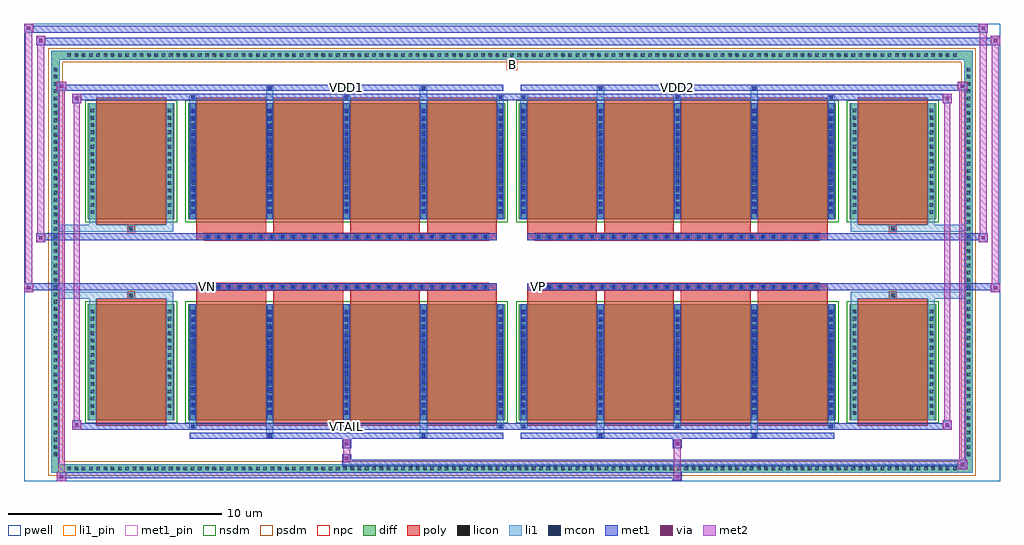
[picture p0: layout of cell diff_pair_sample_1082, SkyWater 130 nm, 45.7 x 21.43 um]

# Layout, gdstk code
import gdstk
lib = gdstk.Library(unit=1e-6, precision=5e-09)
def R(c, l, rs):  # rectangles x0, y0, x1, y1
    for r in rs: c.add(gdstk.rectangle(r[:2], r[2:], *l))
def A(c, l, x, y, w, h, nx, ny, dx, dy):  # array of equal rectangles
    R(c, l, [(x+i*dx, y+j*dy, x+i*dx+w, y+j*dy+h) for i in range(nx) for j in range(ny)])
def P(c, l, *ps):  # polygons
    for p in ps: c.add(gdstk.Polygon(p, *l))
pwell = (64, 44)
diff = (65, 20)
poly = (66, 20)
licon = (66, 44)
li1_pin = (67, 16)
li1 = (67, 20)
mcon = (67, 44)
met1_pin = (68, 16)
met1 = (68, 20)
via = (68, 44)
met2 = (69, 20)
nsdm = (93, 44)
psdm = (94, 20)
npc = (95, 20)

diff_pair_sample_1082 = lib.new_cell('diff_pair_sample_1082')
R(diff_pair_sample_1082, pwell, [(-22.85,-10.28,22.85,11.15), (-20.17,-8.47,-0.01,-0.805), (0.01,-8.47,20.17,-0.805), (-20.17,0.805,-0.01,8.47), (0.01,0.805,20.17,8.47)])
A(diff_pair_sample_1082, diff, -20.945, -9.88, 0.41, 0.41, 123, 2, 0.34, 19.35)
A(diff_pair_sample_1082, diff, -21.58, -9.215, 0.41, 0.41, 1, 54, 0, 0.34)
A(diff_pair_sample_1082, diff, 21.17, -9.215, 0.41, 0.41, 1, 54, 0, 0.34)
R(diff_pair_sample_1082, diff, [(-20.945,-9.88,20.945,-9.47), (-21.58,-9.215,-21.17,9.215), (21.17,-9.215,21.58,9.215), (-19.86,-7.425,-15.81,-1.985), (-15.17,-7.425,-0.32,-1.985), (0.32,-7.425,15.17,-1.985), (15.81,-7.425,19.86,-1.985), (-19.86,1.985,-15.81,7.425), (-15.17,1.985,-0.32,7.425), (0.32,1.985,15.17,7.425), (15.81,1.985,19.86,7.425), (-20.945,9.47,20.945,9.88)])
P(diff_pair_sample_1082, diff, [(21.58,9.88),(-21.58,9.88),(-21.58,-9.47),(-21.17,-9.47),(-21.17,9.47),(21.17,9.47),(21.17,-9.47),(-21.17,-9.47),(-21.58,-9.47),(-21.58,-9.88),(21.58,-9.88)])
A(diff_pair_sample_1082, poly, -14.78, -7.675, 3.27, 5.94, 4, 2, 3.6, 9.41)
A(diff_pair_sample_1082, poly, 0.71, -7.675, 3.27, 5.94, 4, 2, 3.6, 9.41)
A(diff_pair_sample_1082, poly, -14.78, -1.735, 3.27, 0.4, 4, 2, 3.6, 3.07)
A(diff_pair_sample_1082, poly, 0.71, -1.735, 3.27, 0.4, 4, 2, 3.6, 3.07)
A(diff_pair_sample_1082, poly, -14.41, -1.335, 0.33, 0.33, 27, 2, 0.5, 2.34)
A(diff_pair_sample_1082, poly, 1.08, -1.335, 0.33, 0.33, 27, 2, 0.5, 2.34)
R(diff_pair_sample_1082, poly, [(-19.47,-7.675,-16.2,-1.735), (16.2,-7.675,19.47,-1.735), (-18,-1.735,-17.67,-1.405), (-18,-1.735,-17.67,-1.405), (17.67,-1.735,18,-1.405), (17.67,-1.735,18,-1.405), (-14.78,-1.335,-0.71,-1.005), (0.71,-1.335,14.78,-1.005), (-14.78,1.005,-0.71,1.335), (0.71,1.005,14.78,1.335), (-18,1.405,-17.67,1.735), (-18,1.405,-17.67,1.735), (17.67,1.405,18,1.735), (17.67,1.405,18,1.735), (-19.47,1.735,-16.2,7.675), (16.2,1.735,19.47,7.675)])
A(diff_pair_sample_1082, licon, -20.825, -9.76, 0.17, 0.17, 123, 2, 0.34, 19.35)
A(diff_pair_sample_1082, licon, -21.46, -9.095, 0.17, 0.17, 1, 54, 0, 0.34)
A(diff_pair_sample_1082, licon, 21.29, -9.095, 0.17, 0.17, 1, 54, 0, 0.34)
A(diff_pair_sample_1082, licon, -19.72, -7.17, 0.17, 0.17, 1, 15, 0, 0.34)
A(diff_pair_sample_1082, licon, -16.12, -7.17, 0.17, 0.17, 1, 15, 0, 0.34)
A(diff_pair_sample_1082, licon, -15.03, -7.17, 0.17, 0.17, 5, 15, 3.6, 0.34)
A(diff_pair_sample_1082, licon, 0.46, -7.17, 0.17, 0.17, 5, 15, 3.6, 0.34)
A(diff_pair_sample_1082, licon, 15.95, -7.17, 0.17, 0.17, 1, 15, 0, 0.34)
A(diff_pair_sample_1082, licon, 19.55, -7.17, 0.17, 0.17, 1, 15, 0, 0.34)
A(diff_pair_sample_1082, licon, -14.33, -1.255, 0.17, 0.17, 27, 2, 0.5, 2.34)
A(diff_pair_sample_1082, licon, 1.16, -1.255, 0.17, 0.17, 27, 2, 0.5, 2.34)
A(diff_pair_sample_1082, licon, -19.72, 2.24, 0.17, 0.17, 1, 15, 0, 0.34)
A(diff_pair_sample_1082, licon, -16.12, 2.24, 0.17, 0.17, 1, 15, 0, 0.34)
A(diff_pair_sample_1082, licon, -15.03, 2.24, 0.17, 0.17, 5, 15, 3.6, 0.34)
A(diff_pair_sample_1082, licon, 0.46, 2.24, 0.17, 0.17, 5, 15, 3.6, 0.34)
A(diff_pair_sample_1082, licon, 15.95, 2.24, 0.17, 0.17, 1, 15, 0, 0.34)
A(diff_pair_sample_1082, licon, 19.55, 2.24, 0.17, 0.17, 1, 15, 0, 0.34)
R(diff_pair_sample_1082, licon, [(-17.92,-1.655,-17.75,-1.485), (17.75,-1.655,17.92,-1.485), (-17.92,1.485,-17.75,1.655), (17.75,1.485,17.92,1.655)])
R(diff_pair_sample_1082, li1_pin, [(-0.25,8.97,0.25,9.47)])
A(diff_pair_sample_1082, li1, -20.905, -9.84, 0.33, 0.33, 123, 2, 0.34, 19.35)
A(diff_pair_sample_1082, li1, -21.54, -9.175, 0.33, 0.33, 1, 54, 0, 0.34)
A(diff_pair_sample_1082, li1, 21.21, -9.175, 0.33, 0.33, 1, 54, 0, 0.34)
A(diff_pair_sample_1082, li1, -15.11, -7.8, 0.33, 0.375, 3, 2, 7.2, 15.225)
A(diff_pair_sample_1082, li1, -15.03, -7.8, 0.17, 0.17, 3, 2, 7.2, 15.43)
A(diff_pair_sample_1082, li1, 0.38, -7.8, 0.33, 0.375, 3, 2, 7.2, 15.225)
A(diff_pair_sample_1082, li1, 0.46, -7.8, 0.17, 0.17, 3, 2, 7.2, 15.43)
A(diff_pair_sample_1082, li1, -15.11, -7.425, 0.33, 5.44, 5, 2, 3.6, 9.41)
A(diff_pair_sample_1082, li1, 0.38, -7.425, 0.33, 5.44, 5, 2, 3.6, 9.41)
A(diff_pair_sample_1082, li1, -19.8, -7.25, 0.33, 0.33, 1, 15, 0, 0.34)
A(diff_pair_sample_1082, li1, -16.2, -7.25, 0.33, 0.33, 1, 15, 0, 0.34)
A(diff_pair_sample_1082, li1, -15.11, -7.25, 0.33, 0.33, 5, 15, 3.6, 0.34)
A(diff_pair_sample_1082, li1, 0.38, -7.25, 0.33, 0.33, 5, 15, 3.6, 0.34)
A(diff_pair_sample_1082, li1, 15.87, -7.25, 0.33, 0.33, 1, 15, 0, 0.34)
A(diff_pair_sample_1082, li1, 19.47, -7.25, 0.33, 0.33, 1, 15, 0, 0.34)
A(diff_pair_sample_1082, li1, -15.03, -7.13, 0.17, 0.17, 5, 14, 3.6, 0.36)
A(diff_pair_sample_1082, li1, -15.03, -7.13, 0.17, 4.85, 5, 2, 3.6, 9.41)
A(diff_pair_sample_1082, li1, 0.46, -7.13, 0.17, 0.17, 5, 14, 3.6, 0.36)
A(diff_pair_sample_1082, li1, 0.46, -7.13, 0.17, 4.85, 5, 2, 3.6, 9.41)
A(diff_pair_sample_1082, li1, -14.41, -1.335, 0.33, 0.33, 27, 2, 0.5, 2.34)
A(diff_pair_sample_1082, li1, 1.08, -1.335, 0.33, 0.33, 27, 2, 0.5, 2.34)
A(diff_pair_sample_1082, li1, -19.8, 2.16, 0.33, 0.33, 1, 15, 0, 0.34)
A(diff_pair_sample_1082, li1, -16.2, 2.16, 0.33, 0.33, 1, 15, 0, 0.34)
A(diff_pair_sample_1082, li1, -15.11, 2.16, 0.33, 0.33, 5, 15, 3.6, 0.34)
A(diff_pair_sample_1082, li1, 0.38, 2.16, 0.33, 0.33, 5, 15, 3.6, 0.34)
A(diff_pair_sample_1082, li1, 15.87, 2.16, 0.33, 0.33, 1, 15, 0, 0.34)
A(diff_pair_sample_1082, li1, 19.47, 2.16, 0.33, 0.33, 1, 15, 0, 0.34)
A(diff_pair_sample_1082, li1, -15.03, 2.28, 0.17, 0.17, 5, 14, 3.6, 0.36)
A(diff_pair_sample_1082, li1, 0.46, 2.28, 0.17, 0.17, 5, 14, 3.6, 0.36)
R(diff_pair_sample_1082, li1, [(-21.58,-9.88,-21.17,-9.47), (-21.58,-9.88,-21.17,-9.47), (-21.17,-9.88,21.17,-9.47), (21.17,-9.88,21.58,-9.47), (21.17,-9.88,21.58,-9.47), (-21.58,-9.47,-21.17,9.47), (21.17,-9.47,21.58,9.47), (-11.51,-8.23,-11.18,-7.425), (-11.43,-8.23,-11.26,-8.06), (-4.31,-8.23,-3.98,-7.425), (-4.23,-8.23,-4.06,-8.06), (3.98,-8.23,4.31,-7.425), (4.06,-8.23,4.23,-8.06), (11.18,-8.23,11.51,-7.425), (11.26,-8.23,11.43,-8.06), (-19.8,-7.425,-19.47,-1.985), (-16.2,-7.425,-15.87,-1.985), (15.87,-7.425,16.2,-1.985), (19.47,-7.425,19.8,-1.985), (-19.8,-1.985,-19.47,-1.405), (-16.2,-1.985,-15.87,-1.405), (15.87,-1.985,16.2,-1.405), (19.47,-1.985,19.8,-1.405), (-21.58,-1.735,-18,-1.405), (-19.8,-1.735,-18,-1.405), (-18,-1.735,-17.67,-1.405), (-17.67,-1.735,-15.87,-1.405), (15.87,-1.735,17.67,-1.405), (17.67,-1.735,18,-1.405), (17.67,-1.735,21.58,-1.405), (18,-1.735,19.8,-1.405), (-21.58,1.405,-18,1.735), (-19.8,1.405,-18,1.735), (-19.8,1.405,-19.47,1.985), (-18,1.405,-17.67,1.735), (-17.67,1.405,-15.87,1.735), (-16.2,1.405,-15.87,1.985), (15.87,1.405,17.67,1.735), (15.87,1.405,16.2,1.985), (17.67,1.405,18,1.735), (17.67,1.405,21.58,1.735), (18,1.405,19.8,1.735), (19.47,1.405,19.8,1.985), (-19.8,1.985,-19.47,7.425), (-16.2,1.985,-15.87,7.425), (15.87,1.985,16.2,7.425), (19.47,1.985,19.8,7.425), (-11.51,7.425,-11.18,8.23), (-4.31,7.425,-3.98,8.23), (3.98,7.425,4.31,8.23), (11.18,7.425,11.51,8.23), (-11.43,8.06,-11.26,8.23), (-4.23,8.06,-4.06,8.23), (4.06,8.06,4.23,8.23), (11.26,8.06,11.43,8.23), (-21.58,9.47,-21.17,9.88), (-21.58,9.47,-21.17,9.88), (-21.17,9.47,21.17,9.88), (21.17,9.47,21.58,9.88), (21.17,9.47,21.58,9.88)])
A(diff_pair_sample_1082, mcon, -15.03, -7.8, 0.17, 0.17, 3, 2, 7.2, 15.43)
A(diff_pair_sample_1082, mcon, 0.46, -7.8, 0.17, 0.17, 3, 2, 7.2, 15.43)
A(diff_pair_sample_1082, mcon, -15.03, -7.13, 0.17, 0.17, 5, 14, 3.6, 0.36)
A(diff_pair_sample_1082, mcon, 0.46, -7.13, 0.17, 0.17, 5, 14, 3.6, 0.36)
A(diff_pair_sample_1082, mcon, -14.33, -1.255, 0.17, 0.17, 27, 2, 0.5, 2.34)
A(diff_pair_sample_1082, mcon, 1.16, -1.255, 0.17, 0.17, 27, 2, 0.5, 2.34)
A(diff_pair_sample_1082, mcon, -15.03, 2.28, 0.17, 0.17, 5, 14, 3.6, 0.36)
A(diff_pair_sample_1082, mcon, 0.46, 2.28, 0.17, 0.17, 5, 14, 3.6, 0.36)
R(diff_pair_sample_1082, mcon, [(-11.43,-8.23,-11.26,-8.06), (-4.23,-8.23,-4.06,-8.06), (4.06,-8.23,4.23,-8.06), (11.26,-8.23,11.43,-8.06), (-11.43,8.06,-11.26,8.23), (-4.23,8.06,-4.06,8.23), (4.06,8.06,4.23,8.23), (11.26,8.06,11.43,8.23)])
R(diff_pair_sample_1082, met1_pin, [(-7.88,-7.84,-7.61,-7.57), (-14.38,-1.295,-14.11,-1.025), (1.11,-1.295,1.38,-1.025), (-7.88,8.02,-7.61,8.29), (7.61,8.02,7.88,8.29)])
A(diff_pair_sample_1082, met1, -15.09, -7.86, 0.29, 0.29, 3, 2, 7.2, 15.43)
A(diff_pair_sample_1082, met1, 0.4, -7.86, 0.29, 0.29, 3, 2, 7.2, 15.43)
A(diff_pair_sample_1082, met1, -15.09, -7.425, 0.29, 5.44, 5, 2, 3.6, 9.41)
A(diff_pair_sample_1082, met1, 0.4, -7.425, 0.29, 5.44, 5, 2, 3.6, 9.41)
A(diff_pair_sample_1082, met1, -15.09, -7.19, 0.29, 0.29, 5, 14, 3.6, 0.36)
A(diff_pair_sample_1082, met1, 0.4, -7.19, 0.29, 0.29, 5, 14, 3.6, 0.36)
A(diff_pair_sample_1082, met1, -14.39, -1.315, 0.29, 0.29, 27, 2, 0.5, 2.34)
A(diff_pair_sample_1082, met1, 1.1, -1.315, 0.29, 0.29, 27, 2, 0.5, 2.34)
A(diff_pair_sample_1082, met1, -15.09, 2.22, 0.29, 0.29, 5, 14, 3.6, 0.36)
A(diff_pair_sample_1082, met1, 0.4, 2.22, 0.29, 0.29, 5, 14, 3.6, 0.36)
R(diff_pair_sample_1082, met1, [(-21.31,-10.28,-20.88,-9.85), (7.53,-10.28,7.96,-9.85), (-21.31,-10.14,7.96,-9.85), (20.88,-9.71,21.31,-9.28), (-7.96,-9.57,21.31,-9.28), (-7.96,-9.43,-7.53,-9), (-7.96,-8.72,-7.53,-8.29), (7.53,-8.72,7.96,-8.29), (-15.09,-8.29,-0.4,-8), (-11.49,-8.29,-11.2,-8), (-4.29,-8.29,-4,-8), (0.4,-8.29,15.09,-8), (4,-8.29,4.29,-8), (11.2,-8.29,11.49,-8), (-20.6,-7.86,-20.17,-7.43), (-20.6,-7.86,-15.09,-7.57), (-15.09,-7.86,-0.4,-7.57), (-0.4,-7.86,0.4,-7.57), (0.4,-7.86,15.09,-7.57), (15.09,-7.86,20.6,-7.57), (20.17,-7.86,20.6,-7.43), (-22.85,-1.435,-22.42,-1.005), (22.42,-1.435,22.85,-1.005), (-22.85,-1.335,-0.71,-1.005), (-14.78,-1.335,-0.71,-1.005), (0.71,-1.335,14.78,-1.005), (0.71,-1.335,22.85,-1.005), (-22.28,0.905,-21.85,1.335), (21.85,0.905,22.28,1.335), (-22.28,1.005,-14.78,1.335), (-14.78,1.005,-0.71,1.335), (0.71,1.005,14.78,1.335), (14.78,1.005,22.28,1.335), (-20.6,7.43,-20.17,7.86), (20.17,7.43,20.6,7.86), (-20.6,7.57,-15.09,7.86), (-15.09,7.57,-0.4,7.86), (-0.4,7.57,0.4,7.86), (0.4,7.57,15.09,7.86), (15.09,7.57,20.6,7.86), (-21.31,8,-20.88,8.43), (-21.31,8,-15.09,8.29), (-15.09,8,-0.4,8.29), (-11.49,8,-11.2,8.29), (-4.29,8,-4,8.29), (0.4,8,15.09,8.29), (4,8,4.29,8.29), (11.2,8,11.49,8.29), (15.09,8,21.31,8.29), (20.88,8,21.31,8.43), (-22.28,10.15,-21.85,10.58), (-22.28,10.15,-20.17,10.48), (-20.17,10.15,20.17,10.48), (20.17,10.15,22.85,10.48), (22.42,10.15,22.85,10.58), (-22.85,10.72,-22.42,11.15), (-22.85,10.72,-20.17,11.05), (-20.17,10.72,20.17,11.05), (20.17,10.72,22.28,11.05), (21.85,10.72,22.28,11.15)])
R(diff_pair_sample_1082, via, [(-21.17,-10.14,-21.02,-9.99), (7.67,-10.14,7.82,-9.99), (21.02,-9.57,21.17,-9.42), (-7.82,-9.29,-7.67,-9.14), (-7.82,-8.58,-7.67,-8.43), (7.67,-8.58,7.82,-8.43), (-20.46,-7.72,-20.31,-7.57), (20.31,-7.72,20.46,-7.57), (-22.71,-1.295,-22.56,-1.145), (22.56,-1.295,22.71,-1.145), (-22.14,1.045,-21.99,1.195), (21.99,1.045,22.14,1.195), (-20.46,7.57,-20.31,7.72), (20.31,7.57,20.46,7.72), (-21.17,8.14,-21.02,8.29), (21.02,8.14,21.17,8.29), (-22.14,10.29,-21.99,10.44), (22.56,10.29,22.71,10.44), (-22.71,10.86,-22.56,11.01), (21.99,10.86,22.14,11.01)])
R(diff_pair_sample_1082, met2, [(-21.31,-10.28,-20.88,-9.85), (-21.24,-10.28,-20.95,8.43), (-20.95,-10.28,-20.88,-9.85), (-21.26,-10.23,-20.93,-9.9), (7.58,-10.23,7.91,-9.9), (7.58,-9.9,7.91,-8.67), (20.88,-9.71,21.31,-9.28), (20.95,-9.71,21.24,8.43), (21.24,-9.71,21.31,-9.28), (20.93,-9.66,21.26,-9.33), (-7.91,-9.38,-7.58,-9.05), (-7.91,-9.05,-7.58,-8.67), (-7.91,-8.67,-7.58,-8.34), (7.58,-8.67,7.91,-8.34), (-20.6,-7.86,-20.17,-7.43), (-20.53,-7.86,-20.24,7.86), (-20.24,-7.86,-20.17,-7.43), (20.17,-7.86,20.6,-7.43), (20.24,-7.86,20.53,7.86), (20.53,-7.86,20.6,-7.43), (-20.55,-7.81,-20.22,-7.48), (20.22,-7.81,20.55,-7.48), (-22.85,-1.435,-22.42,-1.005), (-22.8,-1.435,-22.47,11.15), (-22.47,-1.435,-22.42,-1.005), (22.42,-1.435,22.85,-1.005), (22.47,-1.435,22.8,10.58), (22.8,-1.435,22.85,-1.005), (-22.8,-1.385,-22.47,-1.055), (22.47,-1.385,22.8,-1.055), (-22.28,0.905,-21.85,1.335), (-22.23,0.905,-21.9,10.58), (-21.9,0.905,-21.85,1.335), (21.85,0.905,22.28,1.335), (21.9,0.905,22.23,11.15), (22.23,0.905,22.28,1.335), (-22.23,0.955,-21.9,1.285), (21.9,0.955,22.23,1.285), (-20.6,7.43,-20.17,7.86), (-20.24,7.43,-20.17,7.86), (20.17,7.43,20.6,7.86), (20.53,7.43,20.6,7.86), (-20.55,7.48,-20.22,7.81), (20.22,7.48,20.55,7.81), (-21.31,8,-20.88,8.43), (-20.95,8,-20.88,8.43), (20.88,8,21.31,8.43), (21.24,8,21.31,8.43), (-21.26,8.05,-20.93,8.38), (20.93,8.05,21.26,8.38), (-22.28,10.15,-21.85,10.58), (-21.9,10.15,-21.85,10.58), (22.42,10.15,22.85,10.58), (22.8,10.15,22.85,10.58), (-22.23,10.2,-21.9,10.53), (22.47,10.2,22.8,10.53), (-22.85,10.72,-22.42,11.15), (-22.47,10.72,-22.42,11.15), (21.85,10.72,22.28,11.15), (22.23,10.72,22.28,11.15), (-22.8,10.77,-22.47,11.1), (21.9,10.77,22.23,11.1)])
R(diff_pair_sample_1082, nsdm, [(-19.99,-7.555,-15.68,-1.855), (-15.3,-7.555,-0.19,-1.855), (0.19,-7.555,15.3,-1.855), (15.68,-7.555,19.99,-1.855), (-19.99,1.855,-15.68,7.555), (-15.3,1.855,-0.19,7.555), (0.19,1.855,15.3,7.555), (15.68,1.855,19.99,7.555)])
P(diff_pair_sample_1082, psdm, [(21.71,10.01),(-21.71,10.01),(-21.71,-9.34),(-21.04,-9.34),(-21.04,9.34),(21.04,9.34),(21.04,-9.34),(-21.04,-9.34),(-21.71,-9.34),(-21.71,-10.01),(21.71,-10.01)])
A(diff_pair_sample_1082, npc, -14.43, -1.355, 0.37, 0.37, 27, 2, 0.5, 2.34)
A(diff_pair_sample_1082, npc, 1.06, -1.355, 0.37, 0.37, 27, 2, 0.5, 2.34)
R(diff_pair_sample_1082, npc, [(-18.02,-1.755,-17.65,-1.385), (17.65,-1.755,18.02,-1.385), (-14.43,-1.355,-13.56,-0.985), (-14.43,-1.355,-13.56,-0.985), (-13.93,-1.355,-13.06,-0.985), (-13.93,-1.355,-13.06,-0.985), (-13.43,-1.355,-12.56,-0.985), (-13.43,-1.355,-12.56,-0.985), (-12.93,-1.355,-12.06,-0.985), (-12.93,-1.355,-12.06,-0.985), (-12.43,-1.355,-11.56,-0.985), (-12.43,-1.355,-11.56,-0.985), (-11.93,-1.355,-11.06,-0.985), (-11.93,-1.355,-11.06,-0.985), (-11.43,-1.355,-10.56,-0.985), (-11.43,-1.355,-10.56,-0.985), (-10.93,-1.355,-10.06,-0.985), (-10.93,-1.355,-10.06,-0.985), (-10.43,-1.355,-9.56,-0.985), (-10.43,-1.355,-9.56,-0.985), (-9.93,-1.355,-9.06,-0.985), (-9.93,-1.355,-9.06,-0.985), (-9.43,-1.355,-8.56,-0.985), (-9.43,-1.355,-8.56,-0.985), (-8.93,-1.355,-8.06,-0.985), (-8.93,-1.355,-8.06,-0.985), (-8.43,-1.355,-7.56,-0.985), (-8.43,-1.355,-7.56,-0.985), (-7.93,-1.355,-7.06,-0.985), (-7.93,-1.355,-7.06,-0.985), (-7.43,-1.355,-6.56,-0.985), (-7.43,-1.355,-6.56,-0.985), (-6.93,-1.355,-6.06,-0.985), (-6.93,-1.355,-6.06,-0.985), (-6.43,-1.355,-5.56,-0.985), (-6.43,-1.355,-5.56,-0.985), (-5.93,-1.355,-5.06,-0.985), (-5.93,-1.355,-5.06,-0.985), (-5.43,-1.355,-4.56,-0.985), (-5.43,-1.355,-4.56,-0.985), (-4.93,-1.355,-4.06,-0.985), (-4.93,-1.355,-4.06,-0.985), (-4.43,-1.355,-3.56,-0.985), (-4.43,-1.355,-3.56,-0.985), (-3.93,-1.355,-3.06,-0.985), (-3.93,-1.355,-3.06,-0.985), (-3.43,-1.355,-2.56,-0.985), (-3.43,-1.355,-2.56,-0.985), (-2.93,-1.355,-2.06,-0.985), (-2.93,-1.355,-2.06,-0.985), (-2.43,-1.355,-1.56,-0.985), (-2.43,-1.355,-1.56,-0.985), (-1.93,-1.355,-1.06,-0.985), (-1.93,-1.355,-1.06,-0.985), (1.06,-1.355,1.93,-0.985), (1.06,-1.355,1.93,-0.985), (1.56,-1.355,2.43,-0.985), (1.56,-1.355,2.43,-0.985), (2.06,-1.355,2.93,-0.985), (2.06,-1.355,2.93,-0.985), (2.56,-1.355,3.43,-0.985), (2.56,-1.355,3.43,-0.985), (3.06,-1.355,3.93,-0.985), (3.06,-1.355,3.93,-0.985), (3.56,-1.355,4.43,-0.985), (3.56,-1.355,4.43,-0.985), (4.06,-1.355,4.93,-0.985), (4.06,-1.355,4.93,-0.985), (4.56,-1.355,5.43,-0.985), (4.56,-1.355,5.43,-0.985), (5.06,-1.355,5.93,-0.985), (5.06,-1.355,5.93,-0.985), (5.56,-1.355,6.43,-0.985), (5.56,-1.355,6.43,-0.985), (6.06,-1.355,6.93,-0.985), (6.06,-1.355,6.93,-0.985), (6.56,-1.355,7.43,-0.985), (6.56,-1.355,7.43,-0.985), (7.06,-1.355,7.93,-0.985), (7.06,-1.355,7.93,-0.985), (7.56,-1.355,8.43,-0.985), (7.56,-1.355,8.43,-0.985), (8.06,-1.355,8.93,-0.985), (8.06,-1.355,8.93,-0.985), (8.56,-1.355,9.43,-0.985), (8.56,-1.355,9.43,-0.985), (9.06,-1.355,9.93,-0.985), (9.06,-1.355,9.93,-0.985), (9.56,-1.355,10.43,-0.985), (9.56,-1.355,10.43,-0.985), (10.06,-1.355,10.93,-0.985), (10.06,-1.355,10.93,-0.985), (10.56,-1.355,11.43,-0.985), (10.56,-1.355,11.43,-0.985), (11.06,-1.355,11.93,-0.985), (11.06,-1.355,11.93,-0.985), (11.56,-1.355,12.43,-0.985), (11.56,-1.355,12.43,-0.985), (12.06,-1.355,12.93,-0.985), (12.06,-1.355,12.93,-0.985), (12.56,-1.355,13.43,-0.985), (12.56,-1.355,13.43,-0.985), (13.06,-1.355,13.93,-0.985), (13.06,-1.355,13.93,-0.985), (13.56,-1.355,14.43,-0.985), (13.56,-1.355,14.43,-0.985), (-14.43,0.985,-13.56,1.355), (-14.43,0.985,-13.56,1.355), (-13.93,0.985,-13.06,1.355), (-13.93,0.985,-13.06,1.355), (-13.43,0.985,-12.56,1.355), (-13.43,0.985,-12.56,1.355), (-12.93,0.985,-12.06,1.355), (-12.93,0.985,-12.06,1.355), (-12.43,0.985,-11.56,1.355), (-12.43,0.985,-11.56,1.355), (-11.93,0.985,-11.06,1.355), (-11.93,0.985,-11.06,1.355), (-11.43,0.985,-10.56,1.355), (-11.43,0.985,-10.56,1.355), (-10.93,0.985,-10.06,1.355), (-10.93,0.985,-10.06,1.355), (-10.43,0.985,-9.56,1.355), (-10.43,0.985,-9.56,1.355), (-9.93,0.985,-9.06,1.355), (-9.93,0.985,-9.06,1.355), (-9.43,0.985,-8.56,1.355), (-9.43,0.985,-8.56,1.355), (-8.93,0.985,-8.06,1.355), (-8.93,0.985,-8.06,1.355), (-8.43,0.985,-7.56,1.355), (-8.43,0.985,-7.56,1.355), (-7.93,0.985,-7.06,1.355), (-7.93,0.985,-7.06,1.355), (-7.43,0.985,-6.56,1.355), (-7.43,0.985,-6.56,1.355), (-6.93,0.985,-6.06,1.355), (-6.93,0.985,-6.06,1.355), (-6.43,0.985,-5.56,1.355), (-6.43,0.985,-5.56,1.355), (-5.93,0.985,-5.06,1.355), (-5.93,0.985,-5.06,1.355), (-5.43,0.985,-4.56,1.355), (-5.43,0.985,-4.56,1.355), (-4.93,0.985,-4.06,1.355), (-4.93,0.985,-4.06,1.355), (-4.43,0.985,-3.56,1.355), (-4.43,0.985,-3.56,1.355), (-3.93,0.985,-3.06,1.355), (-3.93,0.985,-3.06,1.355), (-3.43,0.985,-2.56,1.355), (-3.43,0.985,-2.56,1.355), (-2.93,0.985,-2.06,1.355), (-2.93,0.985,-2.06,1.355), (-2.43,0.985,-1.56,1.355), (-2.43,0.985,-1.56,1.355), (-1.93,0.985,-1.06,1.355), (-1.93,0.985,-1.06,1.355), (1.06,0.985,1.93,1.355), (1.06,0.985,1.93,1.355), (1.56,0.985,2.43,1.355), (1.56,0.985,2.43,1.355), (2.06,0.985,2.93,1.355), (2.06,0.985,2.93,1.355), (2.56,0.985,3.43,1.355), (2.56,0.985,3.43,1.355), (3.06,0.985,3.93,1.355), (3.06,0.985,3.93,1.355), (3.56,0.985,4.43,1.355), (3.56,0.985,4.43,1.355), (4.06,0.985,4.93,1.355), (4.06,0.985,4.93,1.355), (4.56,0.985,5.43,1.355), (4.56,0.985,5.43,1.355), (5.06,0.985,5.93,1.355), (5.06,0.985,5.93,1.355), (5.56,0.985,6.43,1.355), (5.56,0.985,6.43,1.355), (6.06,0.985,6.93,1.355), (6.06,0.985,6.93,1.355), (6.56,0.985,7.43,1.355), (6.56,0.985,7.43,1.355), (7.06,0.985,7.93,1.355), (7.06,0.985,7.93,1.355), (7.56,0.985,8.43,1.355), (7.56,0.985,8.43,1.355), (8.06,0.985,8.93,1.355), (8.06,0.985,8.93,1.355), (8.56,0.985,9.43,1.355), (8.56,0.985,9.43,1.355), (9.06,0.985,9.93,1.355), (9.06,0.985,9.93,1.355), (9.56,0.985,10.43,1.355), (9.56,0.985,10.43,1.355), (10.06,0.985,10.93,1.355), (10.06,0.985,10.93,1.355), (10.56,0.985,11.43,1.355), (10.56,0.985,11.43,1.355), (11.06,0.985,11.93,1.355), (11.06,0.985,11.93,1.355), (11.56,0.985,12.43,1.355), (11.56,0.985,12.43,1.355), (12.06,0.985,12.93,1.355), (12.06,0.985,12.93,1.355), (12.56,0.985,13.43,1.355), (12.56,0.985,13.43,1.355), (13.06,0.985,13.93,1.355), (13.06,0.985,13.93,1.355), (13.56,0.985,14.43,1.355), (13.56,0.985,14.43,1.355), (-18.02,1.385,-17.65,1.755), (17.65,1.385,18.02,1.755)])
diff_pair_sample_1082.add(gdstk.Label('VTAIL', (-7.745,-7.705), layer=68, texttype=5))
diff_pair_sample_1082.add(gdstk.Label('VN', (-14.245,-1.16), layer=68, texttype=5))
diff_pair_sample_1082.add(gdstk.Label('VP', (1.245,-1.16), layer=68, texttype=5))
diff_pair_sample_1082.add(gdstk.Label('B', (0,9.22), layer=67, texttype=5))
diff_pair_sample_1082.add(gdstk.Label('VDD2', (7.745,8.155), layer=68, texttype=5))
diff_pair_sample_1082.add(gdstk.Label('VDD1', (-7.745,8.155), layer=68, texttype=5))

lib.write_gds('diff_pair_sample_1082.gds')
